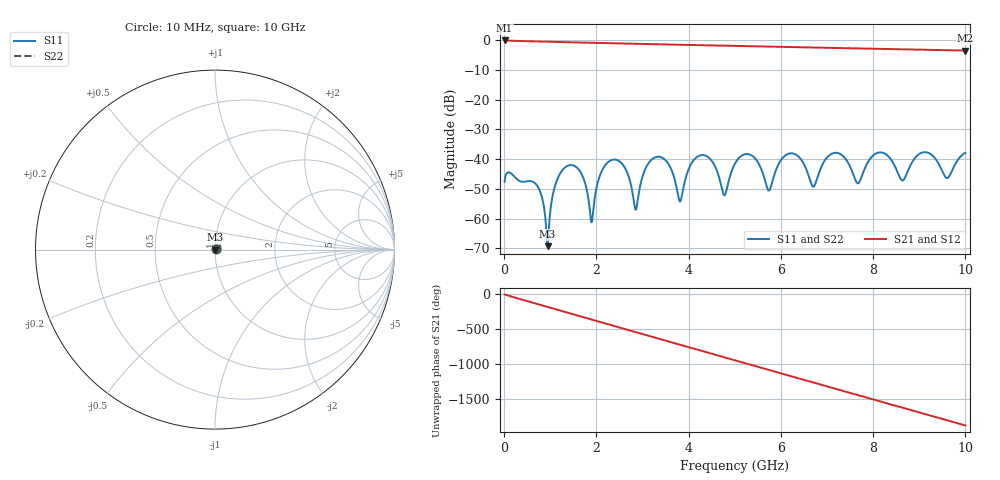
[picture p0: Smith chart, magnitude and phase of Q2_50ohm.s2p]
! Touchstone generated by fitter/viewer
# HZ S  RI R 5.000000e+001
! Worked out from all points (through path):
!   1000 points, 10 MHz to 10 GHz, reference 50 ohm
!   highest |S21| = -0.04 dB at 10 MHz (marker M1); lowest = -3.4 dB at 10 GHz (marker M2)
!   group delay of S21, straight-line fit = 520 ps
!   lowest |S11| = -69.3 dB at 940 MHz (marker M3), VSWR 1.00, Z = 50 + j0.0111 ohm
!   |S11| at or under -10 dB: start of sweep to end of sweep
!   |S22| runs from -69.3 to -37.6 dB; largest |S21 - S12| = 0
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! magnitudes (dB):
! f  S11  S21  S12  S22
! 10 MHz  -47.6  0.0  0.0  -47.6
! 690 MHz  -48.4  -0.4  -0.4  -48.4
! 940 MHz  -69.3  -0.5  -0.5  -69.3
! 1.22 GHz  -44.7  -0.6  -0.6  -44.7
! 1.68 GHz  -45.0  -0.7  -0.7  -45.0
! 1.9 GHz  -61.2  -0.8  -0.8  -61.2
! 2.13 GHz  -43.6  -0.9  -0.9  -43.6
! 2.48 GHz  -40.5  -1.0  -1.0  -40.5
! 2.85 GHz  -57.1  -1.2  -1.2  -57.1
! 3.34 GHz  -39.2  -1.3  -1.3  -39.2
! 3.81 GHz  -54.2  -1.5  -1.5  -54.2
! 4.2 GHz  -39.1  -1.6  -1.6  -39.1
! 4.77 GHz  -52.2  -1.8  -1.8  -52.2
! 5.01 GHz  -41.3  -1.9  -1.9  -41.3
! 5.74 GHz  -50.6  -2.1  -2.1  -50.6
! 6.27 GHz  -38.1  -2.3  -2.3  -38.1
! 6.67 GHz  -48.7  -2.4  -2.4  -48.7
! 7.13 GHz  -38.0  -2.6  -2.6  -38.0
! 7.67 GHz  -48.1  -2.7  -2.7  -48.1
! 8.34 GHz  -39.2  -2.9  -2.9  -39.2
! 8.64 GHz  -47.2  -3.0  -3.0  -47.2
! 10 GHz  -37.9  -3.4  -3.4  -37.9
